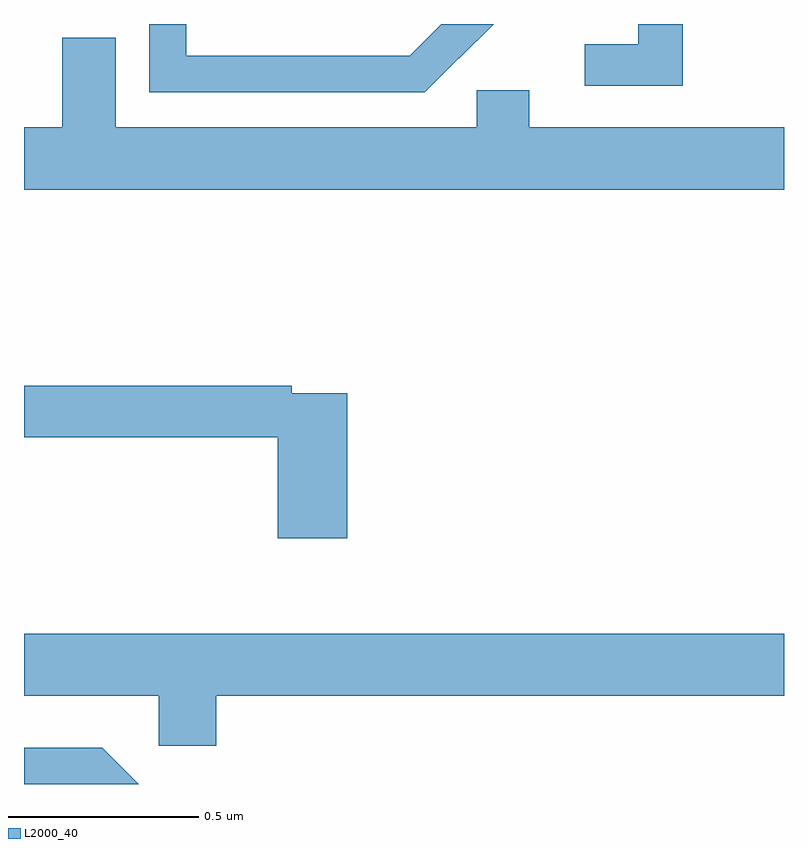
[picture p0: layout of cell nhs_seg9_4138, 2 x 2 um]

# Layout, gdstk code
import gdstk
lib = gdstk.Library(unit=1e-6, precision=1e-09)
def P(c, l, *ps):  # polygons
    for p in ps: c.add(gdstk.Polygon(p, *l))
L2000_40 = (2000, 40)

nhs_seg9_4138 = lib.new_cell('nhs_seg9_4138')
P(nhs_seg9_4138, L2000_40, [(163.145,1219.411),(163.146,1219.41),(163.236,1219.5),(163.098,1219.5),(163.015,1219.417),(162.911,1219.417),(162.911,1219.416),(162.427,1219.416),(162.427,1219.5),(162.33,1219.5),(162.33,1219.32),(163.054,1219.32)],
  [(163.733,1219.5),(163.616,1219.5),(163.616,1219.447),(163.476,1219.447),(163.476,1219.338),(163.733,1219.338)],
  [(164,1219.228),(163.33,1219.228),(163.33,1219.326),(163.191,1219.326),(163.191,1219.228),(162.241,1219.228),(162.241,1219.464),(162.101,1219.464),(162.101,1219.228),(162,1219.228),(162,1219.064),(164,1219.064)],
  [(162.851,1218.528),(162.704,1218.528),(162.704,1218.548),(162,1218.548),(162,1218.412),(162.668,1218.412),(162.668,1218.147),(162.851,1218.147)],
  [(162.506,1217.732),(164,1217.732),(164,1217.896),(162,1217.896),(162,1217.732),(162.354,1217.732),(162.354,1217.601),(162.506,1217.601)],
  [(162.206,1217.596),(162,1217.596),(162,1217.5),(162.302,1217.5)])

lib.write_gds('nhs_seg9_4138.gds')
